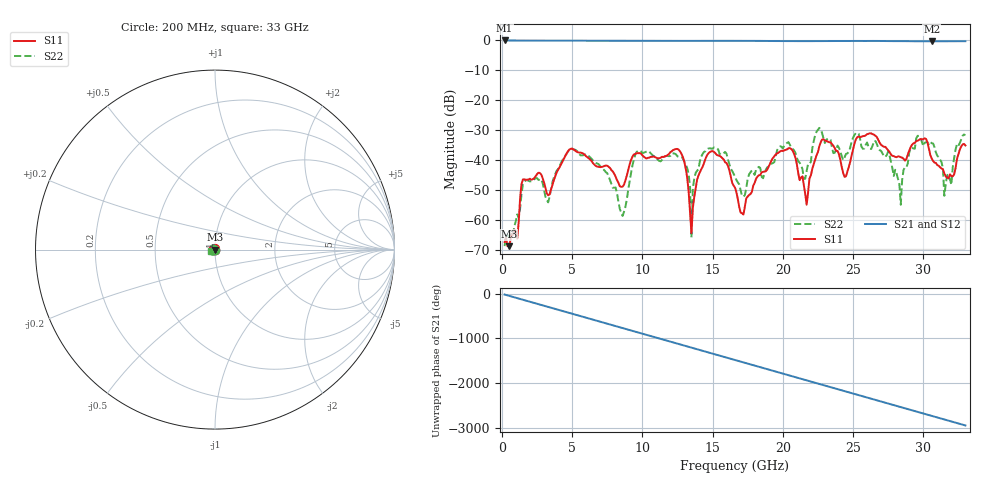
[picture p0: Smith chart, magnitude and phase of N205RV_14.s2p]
# GHZ S RI R 50
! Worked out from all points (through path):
!   329 points, 200 MHz to 33 GHz, reference 50 ohm
!   highest |S21| = -0.02 dB at 200 MHz (marker M1); lowest = -0.3 dB at 30.6 GHz (marker M2)
!   group delay of S21, straight-line fit = 248 ps
!   lowest |S11| = -68.8 dB at 500 MHz (marker M3), VSWR 1.00, Z = 50 + j0.0109 ohm
!   |S11| at or under -10 dB: start of sweep to end of sweep
!   |S22| runs from -68.7 to -29.2 dB; largest |S21 - S12| = 0.0019
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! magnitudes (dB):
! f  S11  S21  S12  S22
! 200 MHz  -67.4  0.0  0.0  -68.7
! 500 MHz  -68.8  0.0  0.0  -65.7
! 1.5 GHz  -46.5  -0.1  -0.1  -48.0
! 5.7 GHz  -37.6  -0.1  -0.1  -38.4
! 8.6 GHz  -48.9  -0.1  -0.1  -58.7
! 9.6 GHz  -37.7  -0.1  -0.1  -37.2
! 11.2 GHz  -39.4  -0.2  -0.2  -40.3
! 13.1 GHz  -43.0  -0.2  -0.2  -41.5
! 13.5 GHz  -64.5  -0.2  -0.2  -65.8
! 13.7 GHz  -52.4  -0.2  -0.2  -46.2
! 14.4 GHz  -40.9  -0.2  -0.2  -37.2
! 16.6 GHz  -49.2  -0.1  -0.1  -45.5
! 17.2 GHz  -58.2  -0.2  -0.2  -52.2
! 20.5 GHz  -36.0  -0.2  -0.2  -34.8
! 21.7 GHz  -54.9  -0.2  -0.2  -43.6
! 22.1 GHz  -42.9  -0.2  -0.2  -36.1
! 27.6 GHz  -37.3  -0.2  -0.2  -38.5
! 28.4 GHz  -39.1  -0.2  -0.2  -54.9
! 29.1 GHz  -35.8  -0.3  -0.3  -36.1
! 30.6 GHz  -39.4  -0.3  -0.3  -34.4
! 31.5 GHz  -44.4  -0.3  -0.3  -51.9
! 33 GHz  -35.1  -0.3  -0.3  -31.7
